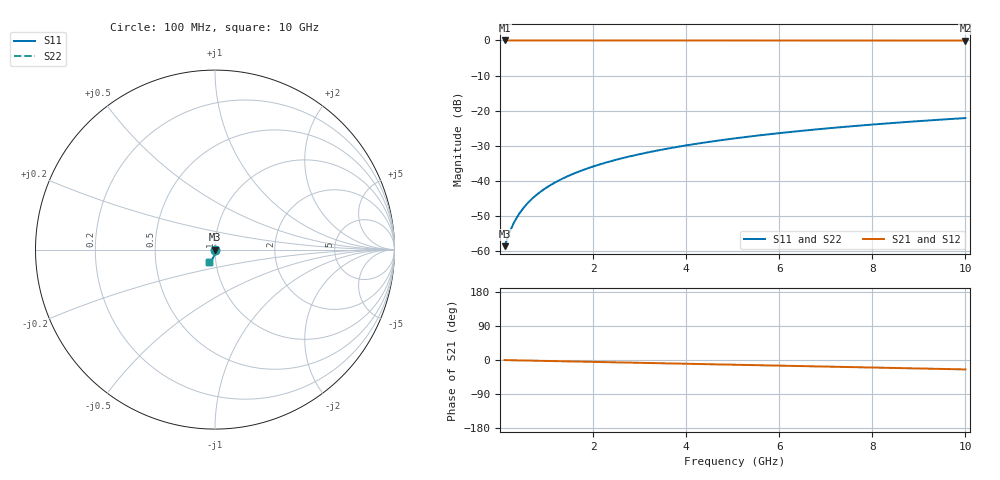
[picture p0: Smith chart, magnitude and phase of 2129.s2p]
# Hz S RI R 50.00
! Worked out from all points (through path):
!   100 points, 100 MHz to 10 GHz, reference 50 ohm
!   highest |S21| = -0.01 dB at 100 MHz (marker M1); lowest = 0.0 dB at 10 GHz (marker M2)
!   group delay of S21, straight-line fit = 6.91 ps
!   lowest |S11| = -58.5 dB at 100 MHz (marker M3), VSWR 1.00, Z = 50.1 - j0.081 ohm
!   |S11| at or under -10 dB: start of sweep to end of sweep
!   |S22| runs from -58.5 to -22.1 dB; largest |S21 - S12| = 0
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1e8  0.000873 -0.000808  0.9991 -0.00431  0.9991 -0.00431  0.000873 -0.000808
2e8  0.000866 -0.00162  0.9991 -0.00862  0.9991 -0.00862  0.000866 -0.00162
3e8  0.00085 -0.00242  0.999 -0.0129  0.999 -0.0129  0.00085 -0.00242
4e8  0.000827 -0.00323  0.9989 -0.0172  0.9989 -0.0172  0.000827 -0.00323
5e8  0.000796 -0.00404  0.9989 -0.0215  0.9989 -0.0215  0.000796 -0.00404
6e8  0.000758 -0.00485  0.9987 -0.0258  0.9987 -0.0258  0.000758 -0.00485
7e8  0.000713 -0.00566  0.9986 -0.0302  0.9986 -0.0302  0.000713 -0.00566
9e8  0.000602 -0.00727  0.9983 -0.0388  0.9983 -0.0388  0.000602 -0.00727
1e9  0.000535 -0.00808  0.9981 -0.0431  0.9981 -0.0431  0.000535 -0.00808
1.2e9  0.000381 -0.00969  0.9977 -0.0517  0.9977 -0.0517  0.000381 -0.00969
1.5e9  9.69e-05 -0.0121  0.9969 -0.0646  0.9969 -0.0646  9.69e-05 -0.0121
1.8e9  -0.00025 -0.0145  0.9959 -0.0775  0.9959 -0.0775  -0.00025 -0.0145
2.1e9  -0.00066 -0.0169  0.9948 -0.0904  0.9948 -0.0904  -0.00066 -0.0169
2.5e9  -0.0013 -0.0201  0.993 -0.1076  0.993 -0.1076  -0.0013 -0.0201
2.9e9  -0.00206 -0.0233  0.9909 -0.1247  0.9909 -0.1247  -0.00206 -0.0233
3.4e9  -0.00315 -0.0272  0.9879 -0.1461  0.9879 -0.1461  -0.00315 -0.0272
4.2e9  -0.00526 -0.0334  0.982 -0.1802  0.982 -0.1802  -0.00526 -0.0334
5.1e9  -0.00814 -0.0401  0.9739 -0.2183  0.9739 -0.2183  -0.00814 -0.0401
5.9e9  -0.0111 -0.046  0.9654 -0.2519  0.9654 -0.2519  -0.0111 -0.046
6.7e9  -0.0145 -0.0516  0.9557 -0.2853  0.9557 -0.2853  -0.0145 -0.0516
8.4e9  -0.023 -0.0626  0.9312 -0.3549  0.9312 -0.3549  -0.023 -0.0626
1e10  -0.0324 -0.0718  0.9033 -0.4186  0.9033 -0.4186  -0.0324 -0.0718
